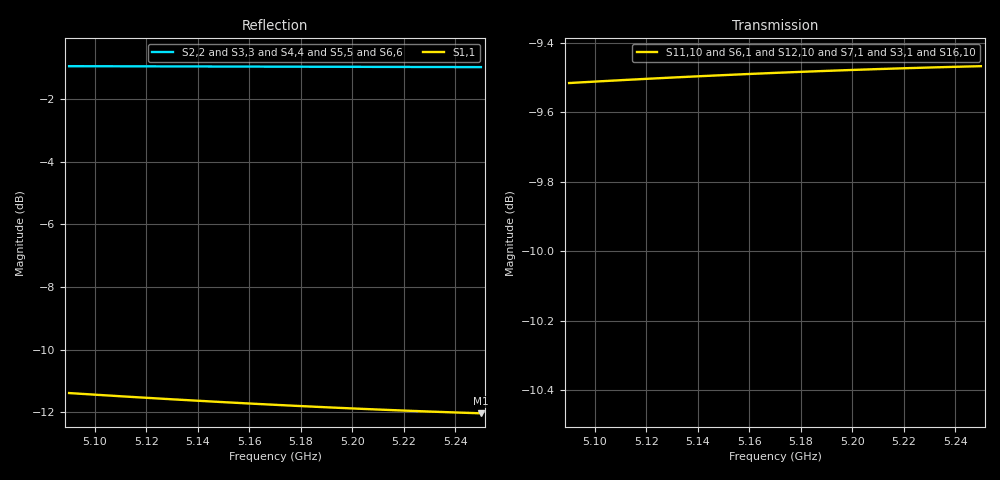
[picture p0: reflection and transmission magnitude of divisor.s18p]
! Touchstone file exported from HFSS 2024.2.0
!  File:  D:/dev/EMBRAER/P2M21/R00_Concepcao/divisor_1x8/P2M21_Duplo_1x8.aedt
!  Generated:  04:03:13 PM Nov  8, 2026
!  Design:  PCB_separada
!  Project:  P2M21_Duplo_1x8
!  Setup:  Centro
!  Solution:  Banda17
# GHz S RI R 50.000000
! Terminal data exported
! Port[1] = A_IN
! Port[2] = A1
! Port[3] = A2
! Port[4] = A3
! Port[5] = A4
! Port[6] = A5
! Port[7] = A6
! Port[8] = A7
! Port[9] = A8
! Port[10] = B_IN
! Port[11] = B1
! Port[12] = B2
! Port[13] = B3
! Port[14] = B4
! Port[15] = B5
! Port[16] = B6
! Port[17] = B7
! Port[18] = B8
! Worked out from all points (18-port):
!   17 points, 5.09 GHz to 5.25 GHz, reference 50 ohm
!   strongest paths, dB at 5.09 GHz, 5.13 GHz, 5.17 GHz, 5.21 GHz, 5.25 GHz:
!     S11,10: -9.5, -9.5, -9.5, -9.5, -9.5
!     S6,1: -9.5, -9.5, -9.5, -9.5, -9.5
!     S12,10: -9.5, -9.5, -9.5, -9.5, -9.5
!     S7,1: -9.5, -9.5, -9.5, -9.5, -9.5
!     S3,1: -9.5, -9.5, -9.5, -9.5, -9.5
!     S16,10: -9.6, -9.5, -9.5, -9.5, -9.5
!   lowest |S11| = -12.0 dB at 5.25 GHz (marker M1), VSWR 1.67, Z = 74.5 - j19.9 ohm
!   |S11| at or under -10 dB: start of sweep to end of sweep
